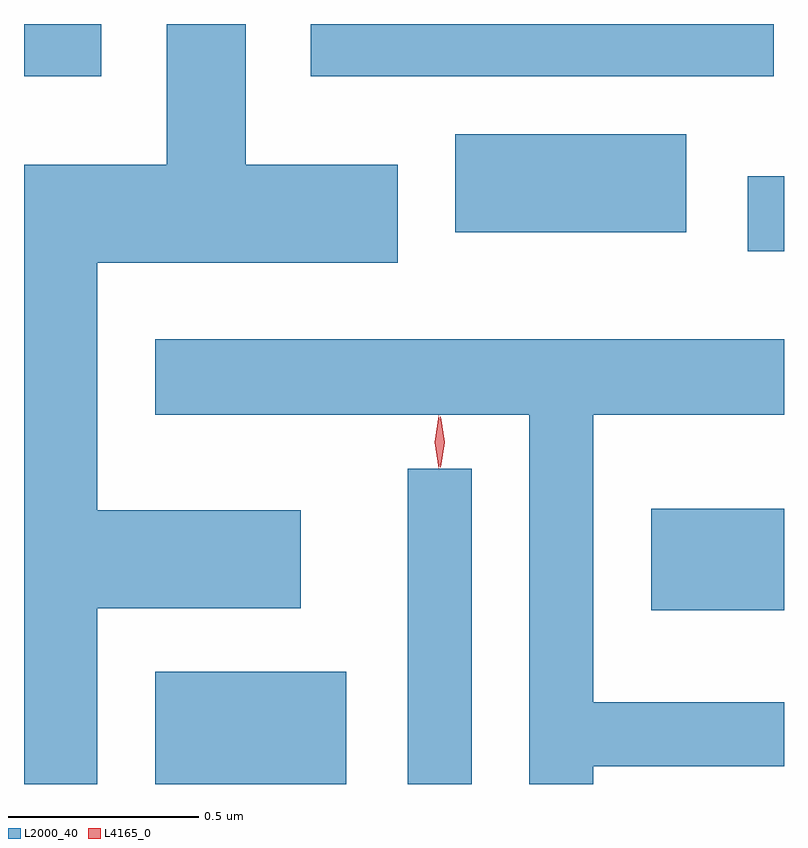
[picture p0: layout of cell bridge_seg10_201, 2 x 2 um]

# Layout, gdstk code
import gdstk
lib = gdstk.Library(unit=1e-6, precision=1e-09)
def R(c, l, rs):  # rectangles x0, y0, x1, y1
    for r in rs: c.add(gdstk.rectangle(r[:2], r[2:], *l))
def P(c, l, *ps):  # polygons
    for p in ps: c.add(gdstk.Polygon(p, *l))
L2000_40 = (2000, 40)
L4165_0 = (4165, 0)

bridge_seg10_201 = lib.new_cell('bridge_seg10_201')
R(bridge_seg10_201, L2000_40, [(1817.286,2141.344,1817.789,2141.639), (1817.951,2141.344,1818.119,2142.173), (1818.591,2141.801,1818.941,2142.069), (1818.846,2142.746,1818.941,2142.944), (1818.076,2142.796,1818.684,2143.054), (1816.941,2143.206,1817.144,2143.344), (1817.696,2143.206,1818.914,2143.344)])
P(bridge_seg10_201, L2000_40, [(1817.134,2141.806),(1817.669,2141.806),(1817.669,2142.064),(1817.134,2142.064),(1817.134,2142.716),(1817.924,2142.716),(1817.924,2142.974),(1817.524,2142.974),(1817.524,2143.344),(1817.316,2143.344),(1817.316,2142.974),(1816.941,2142.974),(1816.941,2141.344),(1817.134,2141.344)],
  [(1818.439,2141.391),(1818.941,2141.391),(1818.941,2141.559),(1818.439,2141.559),(1818.439,2142.316),(1818.941,2142.316),(1818.941,2142.514),(1817.286,2142.514),(1817.286,2142.316),(1818.271,2142.316),(1818.271,2141.344),(1818.439,2141.344)])
P(bridge_seg10_201, L4165_0, [(1818.032,2142.174),(1818.032,2142.175),(1818.022,2142.244),(1818.032,2142.313),(1818.032,2142.314),(1818.033,2142.313),(1818.042,2142.244),(1818.033,2142.175)],
  [(1818.037,2142.178),(1818.037,2142.178),(1818.028,2142.244),(1818.037,2142.31),(1818.038,2142.311),(1818.038,2142.31),(1818.048,2142.244),(1818.038,2142.178)])

lib.write_gds('bridge_seg10_201.gds')
